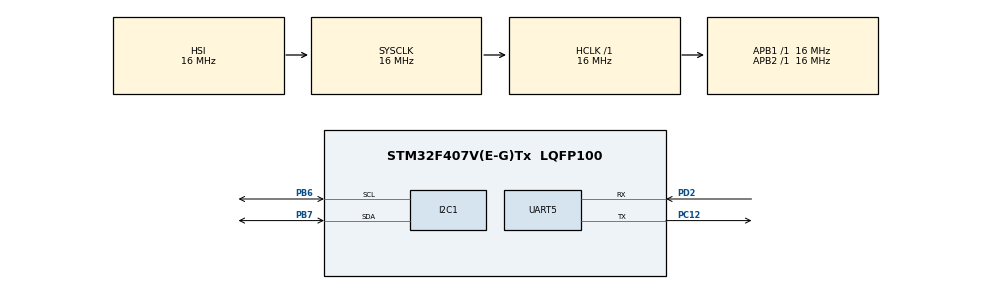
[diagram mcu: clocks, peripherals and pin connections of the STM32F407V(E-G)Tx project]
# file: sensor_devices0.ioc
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Dma.I2C1_RX.1.Direction=DMA_PERIPH_TO_MEMORY
Dma.I2C1_RX.1.FIFOMode=DMA_FIFOMODE_DISABLE
Dma.I2C1_RX.1.Instance=DMA1_Stream0
Dma.I2C1_RX.1.MemDataAlignment=DMA_MDATAALIGN_BYTE
Dma.I2C1_RX.1.MemInc=DMA_MINC_ENABLE
Dma.I2C1_RX.1.Mode=DMA_NORMAL
Dma.I2C1_RX.1.PeriphDataAlignment=DMA_PDATAALIGN_BYTE
Dma.I2C1_RX.1.PeriphInc=DMA_PINC_DISABLE
Dma.I2C1_RX.1.Priority=DMA_PRIORITY_LOW
Dma.I2C1_TX.0.Direction=DMA_MEMORY_TO_PERIPH
Dma.I2C1_TX.0.FIFOMode=DMA_FIFOMODE_DISABLE
Dma.I2C1_TX.0.Instance=DMA1_Stream6
Dma.I2C1_TX.0.MemDataAlignment=DMA_MDATAALIGN_BYTE
Dma.I2C1_TX.0.MemInc=DMA_MINC_ENABLE
Dma.I2C1_TX.0.Mode=DMA_NORMAL
Dma.I2C1_TX.0.PeriphDataAlignment=DMA_PDATAALIGN_BYTE
Dma.I2C1_TX.0.PeriphInc=DMA_PINC_DISABLE
Dma.I2C1_TX.0.Priority=DMA_PRIORITY_LOW
Dma.Request0=I2C1_TX
Dma.Request1=I2C1_RX
Mcu.Family=STM32F4
Mcu.Name=STM32F407V(E-G)Tx
Mcu.Package=LQFP100
NVIC.DMA1_Stream0_IRQn=true\:0\:0\:false\:false\:true\:false\:true\:true
NVIC.DMA1_Stream6_IRQn=true\:0\:0\:false\:false\:true\:false\:true\:true
NVIC.PriorityGroup=NVIC_PRIORITYGROUP_4
NVIC.TIM1_UP_TIM10_IRQn=true\:0\:0\:false\:false\:true\:true\:true\:true
PB6.Mode=I2C
PB6.Signal=I2C1_SCL
PB7.Mode=I2C
PB7.Signal=I2C1_SDA
PC12.Mode=Asynchronous
PC12.Signal=UART5_TX
PD2.Mode=Asynchronous
PD2.Signal=UART5_RX
ProjectManager.HeapSize=0x200
ProjectManager.StackSize=0x400
ProjectManager.TargetToolchain=STM32CubeIDE
RCC.AHBFreq_Value=16000000
RCC.APB1Freq_Value=16000000
RCC.APB2Freq_Value=16000000
RCC.CortexFreq_Value=16000000
RCC.HSE_VALUE=25000000
RCC.HSI_VALUE=16000000
RCC.LSE_VALUE=32768
RCC.SYSCLKFreq_VALUE=16000000
RCC.VCOOutputFreq_Value=192000000
TIM1.AutoReloadPreload=TIM_AUTORELOAD_PRELOAD_ENABLE
TIM1.Period=999
TIM1.Prescaler=15999
UART5.VirtualMode=Asynchronous
VP_TIM1_VS_ClockSourceINT.Mode=Internal
board=custom

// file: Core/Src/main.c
/* USER CODE BEGIN Header */
/**
 ******************************************************************************
 * @file           : main.c
 * @brief          : Main program body
 ******************************************************************************
 * @attention
 *
 * Copyright (c) 2026 STMicroelectronics.
 * All rights reserved.
 *
 * This software is licensed under terms that can be found in the LICENSE file
 * in the root directory of this software component.
 * If no LICENSE file comes with this software, it is provided AS-IS.
 *
 ******************************************************************************
 */
/* USER CODE END Header */
#include "main.h"

/* USER CODE BEGIN Includes */
#include "mpu9250.h"
#include "median_filter.h"
#include "circular_buffer.h"
#include "stdio.h"
#include "string.h"

/* USER CODE END Includes */

I2C_HandleTypeDef hi2c1;
DMA_HandleTypeDef hdma_i2c1_tx;
DMA_HandleTypeDef hdma_i2c1_rx;

TIM_HandleTypeDef htim1;

UART_HandleTypeDef huart5;

/* USER CODE BEGIN PV */
uint8_t TX_Buffer[2];
uint8_t data[14];
float accel_data[3];
float gyro_data[3];
volatile uint8_t i2c_ready_flag = 1;
MedianFilter_t f_ax, f_ay, f_az;
MedianFilter_t f_gx, f_gy, f_gz;
struct buf_handle_t ax_stats_buf = { 0 };
char msg[150];
struct buf_handle_t buf_ax, buf_ay, buf_az;
struct buf_handle_t buf_gx, buf_gy, buf_gz;
volatile uint8_t timer_1hz_flag = 0;
uint32_t last_report_time = 0;
/* USER CODE END PV */

void SystemClock_Config(void);
static void MX_GPIO_Init(void);
static void MX_DMA_Init(void);
static void MX_I2C1_Init(void);
static void MX_UART5_Init(void);
static void MX_TIM1_Init(void);

int main(void) {

	/* MCU Configuration--------------------------------------------------------*/

	/* Reset of all peripherals, Initializes the Flash interface and the Systick. */
	HAL_Init();

	/* Configure the system clock */
	SystemClock_Config();

	/* Initialize all configured peripherals */
	MX_GPIO_Init();
	MX_DMA_Init();
	MX_I2C1_Init();
	MX_UART5_Init();
	MX_TIM1_Init();
	/* USER CODE BEGIN 2 */

	uint8_t wake_up_data = 0x00;

	if (HAL_I2C_Mem_Write(&hi2c1, MPU6050_ADDR, PWR_MGMT_1, 1, &wake_up_data, 1,
			100) != HAL_OK) {

		Error_Handler();
	}
	HAL_Delay(100);
	HAL_TIM_Base_Start_IT(&htim1);
	/* USER CODE END 2 */

	/* Infinite loop */
	/* USER CODE BEGIN WHILE */
	while (1) {
		if (timer_1hz_flag == 1) {
			timer_1hz_flag = 0;

			HAL_UART_Transmit(&huart5,
					(uint8_t*) "\r\n--- [1Hz SENSOR REPORT] ---\r\n", 31, 100);

			Send_Sensor_Stats(&buf_ax, "ACC X");
			Send_Sensor_Stats(&buf_ay, "ACC Y");
			Send_Sensor_Stats(&buf_az, "ACC Z");

			HAL_UART_Transmit(&huart5,
					(uint8_t*) "----------------------------\r\n", 30, 100);

			Send_Sensor_Stats(&buf_gx, "GYRO X");
			Send_Sensor_Stats(&buf_gy, "GYRO Y");
			Send_Sensor_Stats(&buf_gz, "GYRO Z");

			HAL_UART_Transmit(&huart5, (uint8_t*) "--- [END OF REPORT] ---\r\n",
					25, 100);
		}

		if (i2c_ready_flag == 1) {
			i2c_ready_flag = 0;
			HAL_I2C_Mem_Read_DMA(&hi2c1, MPU6050_ADDR, TheMemAdd,
			I2C_MEMADD_SIZE_8BIT, data, 14);

		}
		HAL_Delay(10);

		/* USER CODE END WHILE */

	}
}

void SystemClock_Config(void) {
	RCC_OscInitTypeDef RCC_OscInitStruct = { 0 };
	RCC_ClkInitTypeDef RCC_ClkInitStruct = { 0 };

	/** Configure the main internal regulator output voltage
	 */
	__HAL_RCC_PWR_CLK_ENABLE();
	__HAL_PWR_VOLTAGESCALING_CONFIG(PWR_REGULATOR_VOLTAGE_SCALE1);

	/** Initializes the RCC Oscillators according to the specified parameters
	 * in the RCC_OscInitTypeDef structure.
	 */
	RCC_OscInitStruct.OscillatorType = RCC_OSCILLATORTYPE_HSI;
	RCC_OscInitStruct.HSIState = RCC_HSI_ON;
	RCC_OscInitStruct.HSICalibrationValue = RCC_HSICALIBRATION_DEFAULT;
	RCC_OscInitStruct.PLL.PLLState = RCC_PLL_NONE;
	if (HAL_RCC_OscConfig(&RCC_OscInitStruct) != HAL_OK) {
		Error_Handler();
	}

	/** Initializes the CPU, AHB and APB buses clocks
	 */
	RCC_ClkInitStruct.ClockType = RCC_CLOCKTYPE_HCLK | RCC_CLOCKTYPE_SYSCLK
			| RCC_CLOCKTYPE_PCLK1 | RCC_CLOCKTYPE_PCLK2;
	RCC_ClkInitStruct.SYSCLKSource = RCC_SYSCLKSOURCE_HSI;
	RCC_ClkInitStruct.AHBCLKDivider = RCC_SYSCLK_DIV1;
	RCC_ClkInitStruct.APB1CLKDivider = RCC_HCLK_DIV1;
	RCC_ClkInitStruct.APB2CLKDivider = RCC_HCLK_DIV1;

	if (HAL_RCC_ClockConfig(&RCC_ClkInitStruct, FLASH_LATENCY_0) != HAL_OK) {
		Error_Handler();
	}
}

static void MX_I2C1_Init(void) {

	hi2c1.Instance = I2C1;
	hi2c1.Init.ClockSpeed = 100000;
	hi2c1.Init.DutyCycle = I2C_DUTYCYCLE_2;
	hi2c1.Init.OwnAddress1 = 0;
	hi2c1.Init.AddressingMode = I2C_ADDRESSINGMODE_7BIT;
	hi2c1.Init.DualAddressMode = I2C_DUALADDRESS_DISABLE;
	hi2c1.Init.OwnAddress2 = 0;
	hi2c1.Init.GeneralCallMode = I2C_GENERALCALL_DISABLE;
	hi2c1.Init.NoStretchMode = I2C_NOSTRETCH_DISABLE;
	if (HAL_I2C_Init(&hi2c1) != HAL_OK) {
		Error_Handler();
	}

}

static void MX_TIM1_Init(void) {

	TIM_ClockConfigTypeDef sClockSourceConfig = { 0 };
	TIM_MasterConfigTypeDef sMasterConfig = { 0 };

	htim1.Instance = TIM1;
	htim1.Init.Prescaler = 15999;
	htim1.Init.CounterMode = TIM_COUNTERMODE_UP;
	htim1.Init.Period = 999;
	htim1.Init.ClockDivision = TIM_CLOCKDIVISION_DIV1;
	htim1.Init.RepetitionCounter = 0;
	htim1.Init.AutoReloadPreload = TIM_AUTORELOAD_PRELOAD_ENABLE;
	if (HAL_TIM_Base_Init(&htim1) != HAL_OK) {
		Error_Handler();
	}
	sClockSourceConfig.ClockSource = TIM_CLOCKSOURCE_INTERNAL;
	if (HAL_TIM_ConfigClockSource(&htim1, &sClockSourceConfig) != HAL_OK) {
		Error_Handler();
	}
	sMasterConfig.MasterOutputTrigger = TIM_TRGO_RESET;
	sMasterConfig.MasterSlaveMode = TIM_MASTERSLAVEMODE_DISABLE;
	if (HAL_TIMEx_MasterConfigSynchronization(&htim1, &sMasterConfig)
			!= HAL_OK) {
		Error_Handler();
	}

}

static void MX_UART5_Init(void) {

	huart5.Instance = UART5;
	huart5.Init.BaudRate = 115200;
	huart5.Init.WordLength = UART_WORDLENGTH_8B;
	huart5.Init.StopBits = UART_STOPBITS_1;
	huart5.Init.Parity = UART_PARITY_NONE;
	huart5.Init.Mode = UART_MODE_TX_RX;
	huart5.Init.HwFlowCtl = UART_HWCONTROL_NONE;
	huart5.Init.OverSampling = UART_OVERSAMPLING_16;
	if (HAL_UART_Init(&huart5) != HAL_OK) {
		Error_Handler();
	}

}

static void MX_DMA_Init(void) {

	/* DMA controller clock enable */
	__HAL_RCC_DMA1_CLK_ENABLE();

	/* DMA interrupt init */
	/* DMA1_Stream0_IRQn interrupt configuration */
	HAL_NVIC_SetPriority(DMA1_Stream0_IRQn, 0, 0);
	HAL_NVIC_EnableIRQ(DMA1_Stream0_IRQn);
	/* DMA1_Stream6_IRQn interrupt configuration */
	HAL_NVIC_SetPriority(DMA1_Stream6_IRQn, 0, 0);
	HAL_NVIC_EnableIRQ(DMA1_Stream6_IRQn);

}

static void MX_GPIO_Init(void) {

	/* GPIO Ports Clock Enable */
	__HAL_RCC_GPIOC_CLK_ENABLE();
	__HAL_RCC_GPIOD_CLK_ENABLE();
	__HAL_RCC_GPIOB_CLK_ENABLE();

}

/* USER CODE BEGIN 4 */
void HAL_I2C_MemRxCpltCallback(I2C_HandleTypeDef *hi2c) {
	if (hi2c->Instance == I2C1) {

		data_parsing(data, accel_data, gyro_data);

		buffer_add_value(&buf_ax, filter_that(accel_data[0], &f_ax));
		buffer_add_value(&buf_ay, filter_that(accel_data[1], &f_ay));
		buffer_add_value(&buf_az, filter_that(accel_data[2], &f_az));

		buffer_add_value(&buf_gx, filter_that(gyro_data[0], &f_gx));
		buffer_add_value(&buf_gy, filter_that(gyro_data[1], &f_gy));
		buffer_add_value(&buf_gz, filter_that(gyro_data[2], &f_gz));

		int len = sprintf(msg,
				"A: X:%.2f Y:%.2f Z:%.2f | G: X:%.2f Y:%.2f Z:%.2f\r\n",
				accel_data[0], accel_data[1], accel_data[2], gyro_data[0],
				gyro_data[1], gyro_data[2]);

		i2c_ready_flag = 1;
	}
}
void HAL_TIM_PeriodElapsedCallback(TIM_HandleTypeDef *htim) {
	if (htim->Instance == TIM1) {
		timer_1hz_flag = 1;
	}
}
void Send_Sensor_Stats(struct buf_handle_t *p_handle, char *label) {
	if (p_handle->count < 2) {
		return;
	}

	float min = p_handle->buffer[0];
	float max = p_handle->buffer[0];
	float sum = 0.0f;
	float temp_sort[CIRC_BUF_SIZE];

	for (uint16_t i = 0; i < p_handle->count; i++) {
		float val = p_handle->buffer[i];
		if (val < min)
			min = val;
		if (val > max)
			max = val;
		sum += val;
		temp_sort[i] = val;
	}
	float mean = sum / p_handle->count;

	float sum_sq_diff = 0.0f;
	for (uint16_t i = 0; i < p_handle->count; i++) {
		sum_sq_diff += pow(p_handle->buffer[i] - mean, 2);
	}
	float std_dev = sqrt(sum_sq_diff / p_handle->count);

	for (int i = 0; i < p_handle->count - 1; i++) {
		for (int j = 0; j < p_handle->count - i - 1; j++) {
			if (temp_sort[j] > temp_sort[j + 1]) {
				float temp = temp_sort[j];
				temp_sort[j] = temp_sort[j + 1];
				temp_sort[j + 1] = temp;
			}
		}
	}
	float median = temp_sort[p_handle->count / 2];

	char msg[128];
	int len = sprintf(msg, "[%s] Max:%.2f Min:%.2f Med:%.2f StdDev:%.4f\r\n",
			label, max, min, median, std_dev);

	HAL_UART_Transmit(&huart5, (uint8_t*) msg, len, 100);
}
/* USER CODE END 4 */

void Error_Handler(void) {
	__disable_irq();
	while (1) {
	}
}
